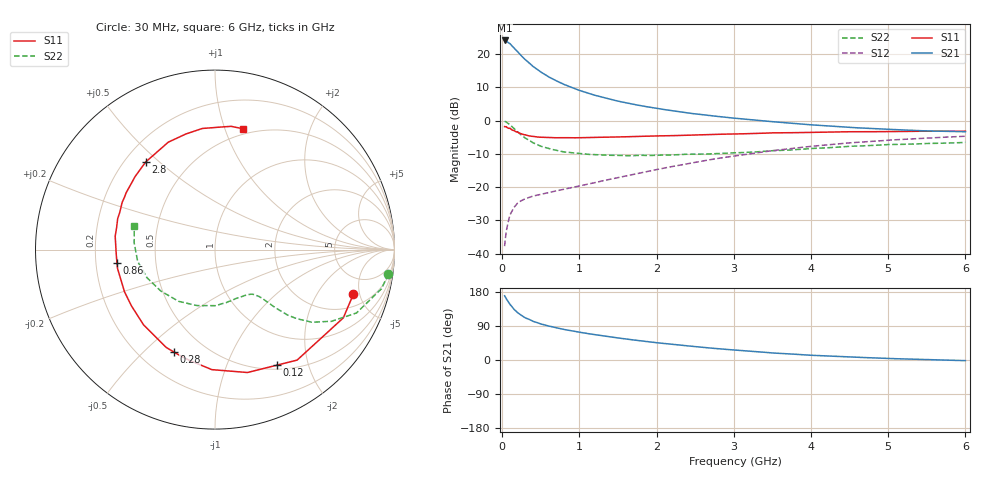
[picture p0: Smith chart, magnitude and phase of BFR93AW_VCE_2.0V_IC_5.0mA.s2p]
! Infineon Technologies  Discrete & RF Semiconductors
! BFR93AW
! VCE =  2.0 V,  IC =  5.0 mA
! Common Emitter S-Parameters:  Nov 2015
# GHz  S  MA  R  50
!  f  S11  S21  S12  S22
! GHz  MAG  ANG  MAG  ANG  MAG  ANG  MAG  ANG
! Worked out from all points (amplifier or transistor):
!   206 points, 30 MHz to 6 GHz, reference 50 ohm
!   highest |S21| = 24.0 dB at 30 MHz (marker M1)
!   |S21| within 3 dB of that: start of sweep to 182.5 MHz
!   unconditionally stable (mu >= 1): 931.9 MHz to 2.473 GHz
!   at 200 MHz: K = 0.31, MSG = 22.7 dB, |S12| = -24.7 dB
!   at 1.56 GHz: K = 1.11, MAG = 9.2 dB, |S12| = -16.8 dB
!   at 6 GHz: K = 0.96, MSG = 0.7 dB, |S12| = -4.7 dB
!   S11 on the Smith chart (normalised r, x): 30 MHz: 3.02, -4.36; 120 MHz: 0.55, -1.53; 280 MHz: 0.34, -0.62; 860 MHz: 0.29, -0.06; 2.8 GHz: 0.28, +0.45; 6 GHz: 0.45, +1.16
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0.03  0.8102 -17.8  15.92 169.4  0.013 80.1  0.9755 -8.0
0.05  0.8098 -28.0  15.69 162.1  0.0211 76.4  0.9532 -13.2
0.1  0.767 -53.4  14.26 146.6  0.0383 64.7  0.864 -24.1
0.12  0.7309 -61.7  13.42 142.0  0.0426 60.7  0.8212 -26.9
0.15  0.7083 -75.2  12.37 133.9  0.0494 56.0  0.7611 -31.7
0.2  0.669 -91.5  10.73 124.5  0.0579 50.4  0.6733 -36.9
0.24  0.6343 -102.5  9.559 118.6  0.062 47.1  0.6131 -39.4
0.28  0.6145 -112.0  8.595 113.5  0.0655 45.4  0.5651 -41.3
0.3  0.6092 -116.5  8.154 111.0  0.0671 44.8  0.5431 -42.1
0.4  0.5782 -133.5  6.461 101.9  0.0735 43.2  0.4623 -44.0
0.5  0.5613 -145.9  5.341 95.0  0.0781 43.2  0.4108 -45.1
0.6  0.5564 -154.9  4.526 89.6  0.0833 44.4  0.3791 -45.8
0.7  0.5512 -162.7  3.946 84.9  0.0879 46.2  0.3565 -46.9
0.86  0.5514 -172.3  3.266 78.5  0.0963 49.0  0.3321 -49.0
1.04  0.5529 178.8  2.736 72.0  0.1065 51.9  0.316 -52.1
1.5  0.5691 162.3  1.953 58.2  0.1391 57.9  0.3004 -63.1
2.02  0.588 146.9  1.508 45.2  0.1854 60.7  0.3019 -78.4
2.8  0.6226 128.3  1.149 29.7  0.2709 58.7  0.3195 -102.1
3.1  0.6311 121.6  1.06 24.9  0.3044 56.4  0.3301 -111.5
4.1  0.6661 102.5  0.847 11.6  0.4196 45.8  0.3839 -145.8
5.1  0.6834 87.6  0.729 3.4  0.5146 33.2  0.4371 -174.1
6  0.6909 76.9  0.679 -1.7  0.5811 22.4  0.4691 163.6
